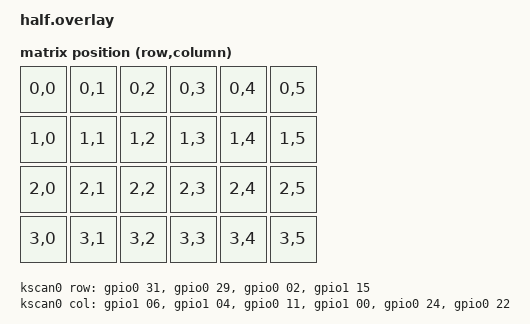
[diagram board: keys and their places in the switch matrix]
#include <dt-bindings/zmk/matrix_transform.h>
/ {
	chosen {
		zmk,kscan = &kscan0;
		zephyr,display = &oled;
	};

	kscan0: kscan_0 {
		compatible = "zmk,kscan-gpio-matrix";
		diode-direction = "col2row";
		wakeup-source;

		col-gpios
			= <&gpio1 06 GPIO_ACTIVE_HIGH>
			, <&gpio1 04 GPIO_ACTIVE_HIGH>
			, <&gpio0 11 GPIO_ACTIVE_HIGH>
			, <&gpio1 00 GPIO_ACTIVE_HIGH>
			, <&gpio0 24 GPIO_ACTIVE_HIGH>
			, <&gpio0 22 GPIO_ACTIVE_HIGH>
			;

		row-gpios
			= <&gpio0 31 (GPIO_ACTIVE_HIGH | GPIO_PULL_DOWN)>
			, <&gpio0 29 (GPIO_ACTIVE_HIGH | GPIO_PULL_DOWN)>
			, <&gpio0 02 (GPIO_ACTIVE_HIGH | GPIO_PULL_DOWN)>
			, <&gpio1 15 (GPIO_ACTIVE_HIGH | GPIO_PULL_DOWN)>

			;
	};

	default_transform: keymap_transform_0 {
			   compatible = "zmk,matrix-transform";
			   columns = <6>;
			   rows = <4>;

			   map = <
				   RC(0,0) RC(0,1) RC(0,2) RC(0,3) RC(0,4) RC(0,5)
				   RC(1,0) RC(1,1) RC(1,2) RC(1,3) RC(1,4) RC(1,5)
				   RC(2,0) RC(2,1) RC(2,2) RC(2,3) RC(2,4) RC(2,5)
				   RC(3,0) RC(3,1) RC(3,2) RC(3,3) RC(3,4) RC(3,5)
				   >;
		   };

	default_layout: default_layout {
			compatible = "zmk,physical-layout";
			display-name = "Default Layout";
			transform = <&default_transform>;
			kscan = <&kscan0>;
		};
		};

&pro_micro_i2c {
	status = "okay";

oled: ssd1306@3c {
	      compatible = "solomon,ssd1306fb";
	      reg = <0x3c>;
	      width = <128>;
	      height = <32>;
	      segment-offset = <0>;
	      page-offset = <0>;
	      display-offset = <0>;
	      multiplex-ratio = <31>;
	      segment-remap;
	      com-invdir;
	      com-sequential;
	      inversion-on;
	      prechargep = <0x22>;
      };
};
